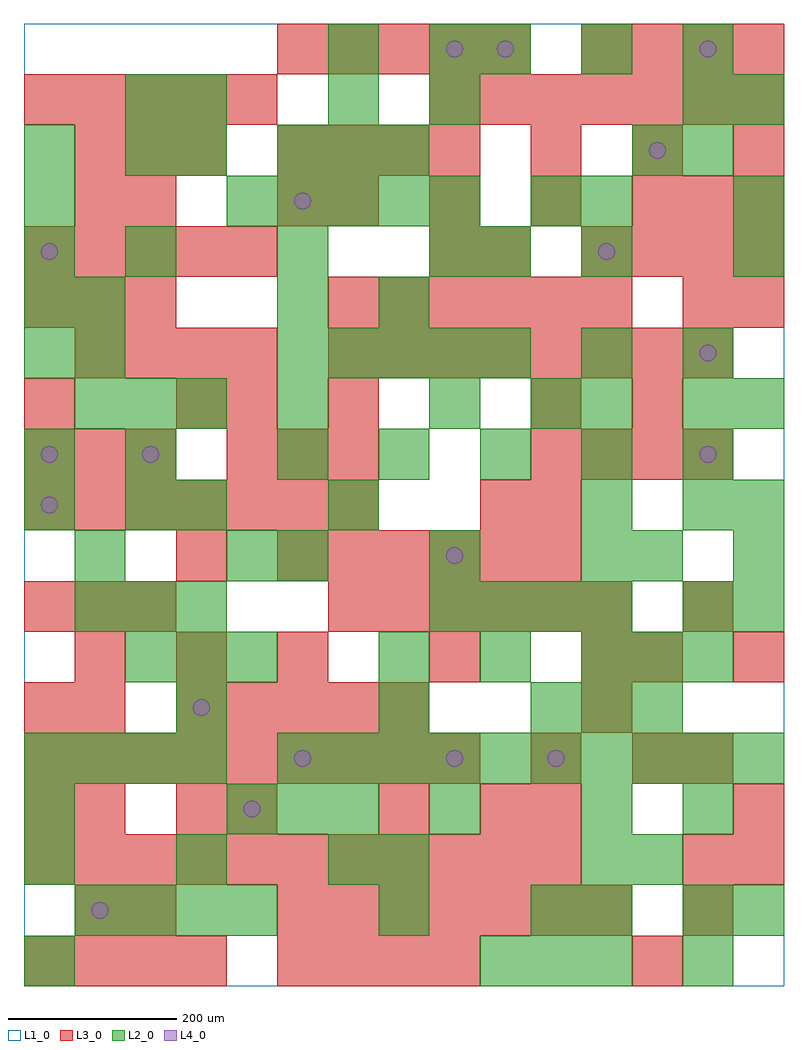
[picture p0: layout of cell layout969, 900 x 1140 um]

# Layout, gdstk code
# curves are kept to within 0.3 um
import gdstk
lib = gdstk.Library(unit=1e-6, precision=1e-09)
def R(c, l, rs):  # rectangles x0, y0, x1, y1
    for r in rs: c.add(gdstk.rectangle(r[:2], r[2:], *l))
def A(c, l, x, y, w, h, nx, ny, dx, dy):  # array of equal rectangles
    R(c, l, [(x+i*dx, y+j*dy, x+i*dx+w, y+j*dy+h) for i in range(nx) for j in range(ny)])
def P(c, l, *ps):  # polygons
    for p in ps: c.add(gdstk.Polygon(p, *l))
L1_0 = (1, 0)
L2_0 = (2, 0)
L3_0 = (3, 0)
L4_0 = (4, 0)

layout969 = lib.new_cell('layout969')
R(layout969, L1_0, [(0,0,900,1140)])
A(layout969, L2_0, 540, 0, 60, 60, 3, 1, 60, 0)
A(layout969, L2_0, 60, 60, 60, 60, 4, 1, 60, 0)
A(layout969, L2_0, 660, 60, 60, 60, 1, 3, 0, 60)
A(layout969, L2_0, 0, 120, 60, 60, 3, 1, 180, 0)
A(layout969, L2_0, 240, 180, 60, 60, 3, 1, 60, 0)
A(layout969, L2_0, 0, 240, 60, 60, 4, 1, 60, 0)
A(layout969, L2_0, 300, 240, 60, 60, 10, 1, 60, 0)
A(layout969, L2_0, 600, 300, 60, 60, 3, 1, 60, 0)
A(layout969, L2_0, 120, 360, 60, 60, 3, 1, 60, 0)
A(layout969, L2_0, 420, 360, 60, 60, 3, 1, 120, 0)
A(layout969, L2_0, 60, 420, 60, 60, 3, 2, 60, 240)
A(layout969, L2_0, 480, 420, 60, 60, 4, 1, 60, 0)
A(layout969, L2_0, 780, 420, 60, 60, 1, 3, 0, 120)
A(layout969, L2_0, 840, 420, 60, 60, 1, 3, 0, 60)
A(layout969, L2_0, 300, 480, 60, 60, 3, 1, 180, 0)
A(layout969, L2_0, 300, 600, 60, 60, 5, 1, 120, 0)
A(layout969, L2_0, 0, 720, 60, 60, 1, 5, 0, 60)
A(layout969, L2_0, 300, 720, 60, 60, 5, 1, 60, 0)
A(layout969, L2_0, 120, 840, 60, 60, 3, 1, 180, 0)
A(layout969, L2_0, 240, 900, 60, 60, 5, 1, 60, 0)
A(layout969, L2_0, 300, 960, 60, 60, 3, 1, 60, 0)
A(layout969, L2_0, 540, 1080, 60, 60, 3, 1, 120, 0)
R(layout969, L2_0, [(0,0,60,60), (780,0,840,60), (420,60,480,120), (600,60,660,120), (780,60,840,120), (840,60,900,120), (420,120,480,180), (720,120,780,180), (0,180,60,240), (480,180,540,240), (780,180,840,240), (180,300,240,360), (420,300,480,360), (720,360,780,420), (780,360,840,420), (60,480,120,540), (240,480,300,540), (720,480,780,540), (0,540,60,600), (120,540,180,600), (180,540,240,600), (360,540,420,600), (660,540,720,600), (0,600,60,660), (120,600,180,660), (300,660,360,720), (480,660,540,720), (600,660,660,720), (660,660,720,720), (840,660,900,720), (60,720,120,780), (660,720,720,780), (780,720,840,780), (60,780,120,840), (300,780,360,840), (420,780,480,840), (540,840,600,900), (660,840,720,900), (840,840,900,900), (600,900,660,960), (660,900,720,960), (840,900,900,960), (120,960,180,1020), (180,960,240,1020), (720,960,780,1020), (780,960,840,1020), (120,1020,180,1080), (180,1020,240,1080), (360,1020,420,1080), (480,1020,540,1080), (780,1020,840,1080), (840,1020,900,1080), (360,1080,420,1140), (480,1080,540,1140)])
A(layout969, L3_0, 0, 0, 60, 60, 4, 1, 60, 0)
A(layout969, L3_0, 300, 0, 60, 60, 4, 2, 60, 960)
A(layout969, L3_0, 60, 60, 60, 60, 1, 3, 0, 120)
A(layout969, L3_0, 300, 60, 60, 60, 7, 1, 60, 0)
A(layout969, L3_0, 0, 120, 60, 60, 11, 1, 60, 0)
A(layout969, L3_0, 0, 240, 60, 60, 9, 1, 60, 0)
A(layout969, L3_0, 180, 300, 60, 60, 5, 1, 60, 0)
A(layout969, L3_0, 60, 360, 60, 60, 3, 1, 120, 0)
A(layout969, L3_0, 0, 420, 60, 60, 3, 3, 60, 180)
A(layout969, L3_0, 360, 420, 60, 60, 6, 2, 60, 360)
A(layout969, L3_0, 300, 480, 60, 60, 6, 1, 60, 0)
A(layout969, L3_0, 0, 540, 60, 60, 7, 1, 60, 0)
A(layout969, L3_0, 240, 600, 60, 60, 3, 1, 60, 0)
A(layout969, L3_0, 600, 600, 60, 60, 4, 1, 60, 0)
A(layout969, L3_0, 60, 720, 60, 60, 4, 1, 60, 0)
A(layout969, L3_0, 360, 720, 60, 60, 8, 1, 60, 0)
A(layout969, L3_0, 0, 840, 60, 60, 5, 2, 60, 180)
A(layout969, L3_0, 660, 840, 60, 60, 4, 2, 60, 240)
A(layout969, L3_0, 360, 900, 60, 60, 4, 1, 120, 0)
A(layout969, L3_0, 60, 960, 60, 60, 3, 1, 60, 0)
A(layout969, L3_0, 600, 960, 60, 60, 3, 1, 120, 0)
A(layout969, L3_0, 480, 1020, 60, 60, 7, 1, 60, 0)
A(layout969, L3_0, 300, 1080, 60, 60, 5, 1, 60, 0)
R(layout969, L3_0, [(720,0,780,60), (120,60,180,120), (780,60,840,120), (780,120,840,180), (840,120,900,180), (0,180,60,240), (180,180,240,240), (240,180,300,240), (420,180,480,240), (540,180,600,240), (600,180,660,240), (840,180,900,240), (600,240,660,300), (720,240,780,300), (780,240,840,300), (0,300,60,360), (660,300,720,360), (480,360,540,420), (660,360,720,420), (720,360,780,420), (840,360,900,420), (780,420,840,480), (180,480,240,540), (540,540,600,600), (600,540,660,600), (0,660,60,720), (180,660,240,720), (240,660,300,720), (360,660,420,720), (600,660,660,720), (720,660,780,720), (780,780,840,840), (840,780,900,840), (480,840,540,900), (540,840,600,900), (60,900,120,960), (120,900,180,960), (300,900,360,960), (780,900,840,960), (840,900,900,960)])
P(layout969, L4_0, [(40,570),(39.239,573.827),(37.071,577.071),(33.827,579.239),(30,580),(26.173,579.239),(22.929,577.071),(20.761,573.827),(20,570),(20.761,566.173),(22.929,562.929),(26.173,560.761),(30,560),(33.827,560.761),(37.071,562.929),(39.239,566.173)],
  [(40,630),(39.239,633.827),(37.071,637.071),(33.827,639.239),(30,640),(26.173,639.239),(22.929,637.071),(20.761,633.827),(20,630),(20.761,626.173),(22.929,622.929),(26.173,620.761),(30,620),(33.827,620.761),(37.071,622.929),(39.239,626.173)],
  [(40,870),(39.239,873.827),(37.071,877.071),(33.827,879.239),(30,880),(26.173,879.239),(22.929,877.071),(20.761,873.827),(20,870),(20.761,866.173),(22.929,862.929),(26.173,860.761),(30,860),(33.827,860.761),(37.071,862.929),(39.239,866.173)],
  [(100,90),(99.239,93.827),(97.071,97.071),(93.827,99.239),(90,100),(86.173,99.239),(82.929,97.071),(80.761,93.827),(80,90),(80.761,86.173),(82.929,82.929),(86.173,80.761),(90,80),(93.827,80.761),(97.071,82.929),(99.239,86.173)],
  [(160,630),(159.239,633.827),(157.071,637.071),(153.827,639.239),(150,640),(146.173,639.239),(142.929,637.071),(140.761,633.827),(140,630),(140.761,626.173),(142.929,622.929),(146.173,620.761),(150,620),(153.827,620.761),(157.071,622.929),(159.239,626.173)],
  [(220,330),(219.239,333.827),(217.071,337.071),(213.827,339.239),(210,340),(206.173,339.239),(202.929,337.071),(200.761,333.827),(200,330),(200.761,326.173),(202.929,322.929),(206.173,320.761),(210,320),(213.827,320.761),(217.071,322.929),(219.239,326.173)],
  [(280,210),(279.239,213.827),(277.071,217.071),(273.827,219.239),(270,220),(266.173,219.239),(262.929,217.071),(260.761,213.827),(260,210),(260.761,206.173),(262.929,202.929),(266.173,200.761),(270,200),(273.827,200.761),(277.071,202.929),(279.239,206.173)],
  [(340,270),(339.239,273.827),(337.071,277.071),(333.827,279.239),(330,280),(326.173,279.239),(322.929,277.071),(320.761,273.827),(320,270),(320.761,266.173),(322.929,262.929),(326.173,260.761),(330,260),(333.827,260.761),(337.071,262.929),(339.239,266.173)],
  [(340,930),(339.239,933.827),(337.071,937.071),(333.827,939.239),(330,940),(326.173,939.239),(322.929,937.071),(320.761,933.827),(320,930),(320.761,926.173),(322.929,922.929),(326.173,920.761),(330,920),(333.827,920.761),(337.071,922.929),(339.239,926.173)],
  [(520,270),(519.239,273.827),(517.071,277.071),(513.827,279.239),(510,280),(506.173,279.239),(502.929,277.071),(500.761,273.827),(500,270),(500.761,266.173),(502.929,262.929),(506.173,260.761),(510,260),(513.827,260.761),(517.071,262.929),(519.239,266.173)],
  [(520,510),(519.239,513.827),(517.071,517.071),(513.827,519.239),(510,520),(506.173,519.239),(502.929,517.071),(500.761,513.827),(500,510),(500.761,506.173),(502.929,502.929),(506.173,500.761),(510,500),(513.827,500.761),(517.071,502.929),(519.239,506.173)],
  [(520,1110),(519.239,1113.827),(517.071,1117.071),(513.827,1119.239),(510,1120),(506.173,1119.239),(502.929,1117.071),(500.761,1113.827),(500,1110),(500.761,1106.173),(502.929,1102.929),(506.173,1100.761),(510,1100),(513.827,1100.761),(517.071,1102.929),(519.239,1106.173)],
  [(580,1110),(579.239,1113.827),(577.071,1117.071),(573.827,1119.239),(570,1120),(566.173,1119.239),(562.929,1117.071),(560.761,1113.827),(560,1110),(560.761,1106.173),(562.929,1102.929),(566.173,1100.761),(570,1100),(573.827,1100.761),(577.071,1102.929),(579.239,1106.173)],
  [(640,270),(639.239,273.827),(637.071,277.071),(633.827,279.239),(630,280),(626.173,279.239),(622.929,277.071),(620.761,273.827),(620,270),(620.761,266.173),(622.929,262.929),(626.173,260.761),(630,260),(633.827,260.761),(637.071,262.929),(639.239,266.173)],
  [(700,870),(699.239,873.827),(697.071,877.071),(693.827,879.239),(690,880),(686.173,879.239),(682.929,877.071),(680.761,873.827),(680,870),(680.761,866.173),(682.929,862.929),(686.173,860.761),(690,860),(693.827,860.761),(697.071,862.929),(699.239,866.173)],
  [(760,990),(759.239,993.827),(757.071,997.071),(753.827,999.239),(750,1000),(746.173,999.239),(742.929,997.071),(740.761,993.827),(740,990),(740.761,986.173),(742.929,982.929),(746.173,980.761),(750,980),(753.827,980.761),(757.071,982.929),(759.239,986.173)],
  [(820,630),(819.239,633.827),(817.071,637.071),(813.827,639.239),(810,640),(806.173,639.239),(802.929,637.071),(800.761,633.827),(800,630),(800.761,626.173),(802.929,622.929),(806.173,620.761),(810,620),(813.827,620.761),(817.071,622.929),(819.239,626.173)],
  [(820,750),(819.239,753.827),(817.071,757.071),(813.827,759.239),(810,760),(806.173,759.239),(802.929,757.071),(800.761,753.827),(800,750),(800.761,746.173),(802.929,742.929),(806.173,740.761),(810,740),(813.827,740.761),(817.071,742.929),(819.239,746.173)],
  [(820,1110),(819.239,1113.827),(817.071,1117.071),(813.827,1119.239),(810,1120),(806.173,1119.239),(802.929,1117.071),(800.761,1113.827),(800,1110),(800.761,1106.173),(802.929,1102.929),(806.173,1100.761),(810,1100),(813.827,1100.761),(817.071,1102.929),(819.239,1106.173)])

lib.write_gds('layout969.gds')
